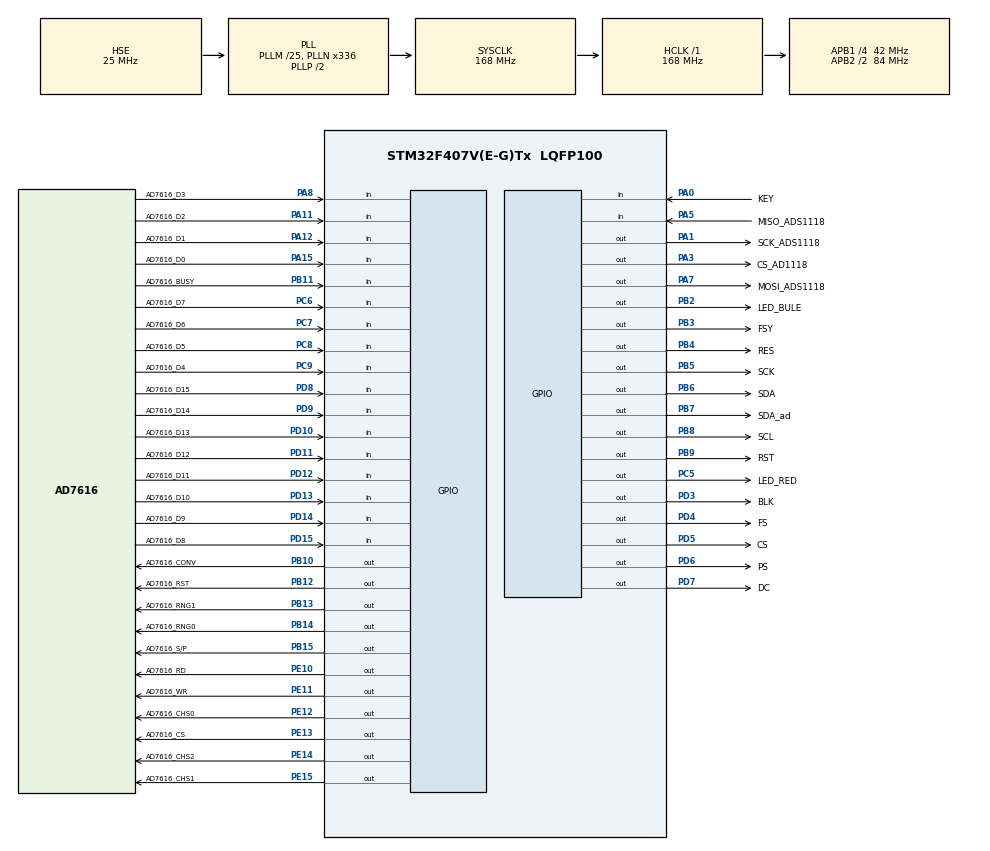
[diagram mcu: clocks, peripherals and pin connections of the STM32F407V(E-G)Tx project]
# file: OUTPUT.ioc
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Mcu.Family=STM32F4
Mcu.Name=STM32F407V(E-G)Tx
Mcu.Package=LQFP100
NVIC.PriorityGroup=NVIC_PRIORITYGROUP_4
PA0-WKUP.GPIO_Label=KEY
PA0-WKUP.GPIO_PuPd=GPIO_PULLDOWN
PA0-WKUP.Signal=GPIO_Input
PA1.GPIO_Label=SCK_ADS1118
PA1.GPIO_Speed=GPIO_SPEED_FREQ_HIGH
PA1.Signal=GPIO_Output
PA11.GPIO_Label=AD7616_D2
PA11.Signal=GPIO_Input
PA12.GPIO_Label=AD7616_D1
PA12.Signal=GPIO_Input
PA15.GPIO_Label=AD7616_D0
PA15.Signal=GPIO_Input
PA3.GPIO_Label=CS_AD1118
PA3.GPIO_Speed=GPIO_SPEED_FREQ_HIGH
PA3.Signal=GPIO_Output
PA5.GPIO_Label=MISO_ADS1118
PA5.GPIO_PuPd=GPIO_PULLUP
PA5.Signal=GPIO_Input
PA7.GPIO_Label=MOSI_ADS1118
PA7.GPIO_Speed=GPIO_SPEED_FREQ_HIGH
PA7.Signal=GPIO_Output
PA8.GPIO_Label=AD7616_D3
PA8.Signal=GPIO_Input
PB10.GPIO_Label=AD7616_CONV
PB10.GPIO_Speed=GPIO_SPEED_FREQ_MEDIUM
PB10.Signal=GPIO_Output
PB11.GPIO_Label=AD7616_BUSY
PB11.Signal=GPIO_Input
PB12.GPIO_Label=AD7616_RST
PB12.GPIO_Speed=GPIO_SPEED_FREQ_MEDIUM
PB12.Signal=GPIO_Output
PB13.GPIO_Label=AD7616_RNG1
PB13.GPIO_ModeDefaultOutputPP=GPIO_MODE_OUTPUT_PP
PB13.GPIO_PuPd=GPIO_NOPULL
PB13.GPIO_Speed=GPIO_SPEED_FREQ_MEDIUM
PB13.PinState=GPIO_PIN_RESET
PB13.Signal=GPIO_Output
PB14.GPIO_Label=AD7616_RNG0
PB14.GPIO_ModeDefaultOutputPP=GPIO_MODE_OUTPUT_PP
PB14.GPIO_PuPd=GPIO_NOPULL
PB14.GPIO_Speed=GPIO_SPEED_FREQ_MEDIUM
PB14.Signal=GPIO_Output
PB15.GPIO_Label=AD7616_S/P
PB15.GPIO_ModeDefaultOutputPP=GPIO_MODE_OUTPUT_PP
PB15.GPIO_PuPd=GPIO_NOPULL
PB15.Signal=GPIO_Output
PB2.GPIO_Label=LED_BULE
PB2.GPIO_ModeDefaultOutputPP=GPIO_MODE_OUTPUT_OD
PB2.GPIO_PuPd=GPIO_NOPULL
PB2.PinState=GPIO_PIN_SET
PB2.Signal=GPIO_Output
PB3.GPIO_Label=FSY
PB3.GPIO_Speed=GPIO_SPEED_FREQ_HIGH
PB3.Signal=GPIO_Output
PB4.GPIO_Label=RES
PB4.GPIO_Speed=GPIO_SPEED_FREQ_MEDIUM
PB4.Signal=GPIO_Output
PB5.GPIO_Label=SCK
PB5.GPIO_Speed=GPIO_SPEED_FREQ_HIGH
PB5.Signal=GPIO_Output
PB6.GPIO_Label=SDA
PB6.GPIO_Speed=GPIO_SPEED_FREQ_MEDIUM
PB6.Signal=GPIO_Output
PB7.GPIO_Label=SDA_ad
PB7.GPIO_Speed=GPIO_SPEED_FREQ_HIGH
PB7.Signal=GPIO_Output
PB8.GPIO_Label=SCL
PB8.GPIO_Speed=GPIO_SPEED_FREQ_MEDIUM
PB8.Signal=GPIO_Output
PB9.GPIO_Label=RST
PB9.GPIO_Speed=GPIO_SPEED_FREQ_HIGH
PB9.Signal=GPIO_Output
PC5.GPIO_Label=LED_RED
PC5.GPIO_ModeDefaultOutputPP=GPIO_MODE_OUTPUT_OD
PC5.GPIO_PuPd=GPIO_NOPULL
PC5.PinState=GPIO_PIN_SET
PC5.Signal=GPIO_Output
PC6.GPIO_Label=AD7616_D7
PC6.Signal=GPIO_Input
PC7.GPIO_Label=AD7616_D6
PC7.Signal=GPIO_Input
PC8.GPIO_Label=AD7616_D5
PC8.Signal=GPIO_Input
PC9.GPIO_Label=AD7616_D4
PC9.Signal=GPIO_Input
PD10.GPIO_Label=AD7616_D13
PD10.Signal=GPIO_Input
PD11.GPIO_Label=AD7616_D12
PD11.Signal=GPIO_Input
PD12.GPIO_Label=AD7616_D11
PD12.Signal=GPIO_Input
PD13.GPIO_Label=AD7616_D10
PD13.Signal=GPIO_Input
PD14.GPIO_Label=AD7616_D9
PD14.Signal=GPIO_Input
PD15.GPIO_Label=AD7616_D8
PD15.Signal=GPIO_Input
PD3.GPIO_Label=BLK
PD3.GPIO_Speed=GPIO_SPEED_FREQ_MEDIUM
PD3.Signal=GPIO_Output
PD4.GPIO_Label=FS
PD4.GPIO_Speed=GPIO_SPEED_FREQ_HIGH
PD4.PinState=GPIO_PIN_RESET
PD4.Signal=GPIO_Output
PD5.GPIO_Label=CS
PD5.GPIO_Speed=GPIO_SPEED_FREQ_MEDIUM
PD5.Signal=GPIO_Output
PD6.GPIO_Label=PS
PD6.GPIO_Speed=GPIO_SPEED_FREQ_HIGH
PD6.Signal=GPIO_Output
PD7.GPIO_Label=DC
PD7.GPIO_Speed=GPIO_SPEED_FREQ_MEDIUM
PD7.Signal=GPIO_Output
PD8.GPIO_Label=AD7616_D15
PD8.Signal=GPIO_Input
PD9.GPIO_Label=AD7616_D14
PD9.Signal=GPIO_Input
PE10.GPIO_Label=AD7616_RD
PE10.GPIO_Speed=GPIO_SPEED_FREQ_MEDIUM
PE10.Signal=GPIO_Output
PE11.GPIO_Label=AD7616_WR
PE11.GPIO_Speed=GPIO_SPEED_FREQ_MEDIUM
PE11.Signal=GPIO_Output
PE12.GPIO_Label=AD7616_CHS0
PE12.GPIO_ModeDefaultOutputPP=GPIO_MODE_OUTPUT_PP
PE12.GPIO_PuPd=GPIO_NOPULL
PE12.GPIO_Speed=GPIO_SPEED_FREQ_MEDIUM
PE12.Signal=GPIO_Output
PE13.GPIO_Label=AD7616_CS
PE13.GPIO_ModeDefaultOutputPP=GPIO_MODE_OUTPUT_PP
PE13.GPIO_PuPd=GPIO_NOPULL
PE13.GPIO_Speed=GPIO_SPEED_FREQ_MEDIUM
PE13.Signal=GPIO_Output
PE14.GPIO_Label=AD7616_CHS2
PE14.GPIO_ModeDefaultOutputPP=GPIO_MODE_OUTPUT_PP
PE14.GPIO_PuPd=GPIO_NOPULL
PE14.GPIO_Speed=GPIO_SPEED_FREQ_MEDIUM
PE14.Signal=GPIO_Output
PE15.GPIO_Label=AD7616_CHS1
PE15.GPIO_ModeDefaultOutputPP=GPIO_MODE_OUTPUT_PP
PE15.GPIO_PuPd=GPIO_NOPULL
PE15.GPIO_Speed=GPIO_SPEED_FREQ_MEDIUM
PE15.Signal=GPIO_Output
PH0-OSC_IN.Mode=HSE-External-Oscillator
PH0-OSC_IN.Signal=RCC_OSC_IN
PH1-OSC_OUT.Mode=HSE-External-Oscillator
PH1-OSC_OUT.Signal=RCC_OSC_OUT
ProjectManager.HeapSize=0x200
ProjectManager.StackSize=0x400
ProjectManager.TargetToolchain=CMake
RCC.48MHZClocksFreq_Value=84000000
RCC.AHBFreq_Value=168000000
RCC.APB1CLKDivider=RCC_HCLK_DIV4
RCC.APB1Freq_Value=42000000
RCC.APB1TimFreq_Value=84000000
RCC.APB2CLKDivider=RCC_HCLK_DIV2
RCC.APB2Freq_Value=84000000
RCC.APB2TimFreq_Value=168000000
RCC.CortexFreq_Value=168000000
RCC.HCLKFreq_Value=168000000
RCC.HSE_VALUE=25000000
RCC.HSI_VALUE=16000000
RCC.LSE_VALUE=32768
RCC.PLLM=25
RCC.PLLN=336
RCC.PLLSourceVirtual=RCC_PLLSOURCE_HSE
RCC.SYSCLKFreq_VALUE=168000000
RCC.SYSCLKSource=RCC_SYSCLKSOURCE_PLLCLK
RCC.VCOOutputFreq_Value=336000000
board=custom

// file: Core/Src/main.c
/* USER CODE BEGIN Header */
/**
  ******************************************************************************
  * @file           : main.c
  * @brief          : Main program body
  ******************************************************************************
  * @attention
  *
  * Copyright (c) 2026 STMicroelectronics.
  * All rights reserved.
  *
  * This software is licensed under terms that can be found in the LICENSE file
  * in the root directory of this software component.
  * If no LICENSE file comes with this software, it is provided AS-IS.
  *
  ******************************************************************************
  */
/* USER CODE END Header */
#include "main.h"
#include "gpio.h"

/* USER CODE BEGIN Includes */
#include "delay.h"
#include "ad7616.h"
#include "lcd.h"
/* USER CODE END Includes */

/* USER CODE BEGIN PD */
#define APP_CHANNEL_COUNT 8U
#define APP_ADC_RANGE_MV 5000L
#define APP_ALERT_THRESHOLD 30000U
#define APP_LCD_REFRESH_MS 100U
#define APP_LED_TOGGLE_MS 250U

#define APP_LED_RED_ON() HAL_GPIO_WritePin(LED_RED_GPIO_Port, LED_RED_Pin, GPIO_PIN_RESET)
#define APP_LED_RED_OFF() HAL_GPIO_WritePin(LED_RED_GPIO_Port, LED_RED_Pin, GPIO_PIN_SET)
#define APP_LED_BLUE_ON() HAL_GPIO_WritePin(LED_BULE_GPIO_Port, LED_BULE_Pin, GPIO_PIN_RESET)
#define APP_LED_BLUE_OFF() HAL_GPIO_WritePin(LED_BULE_GPIO_Port, LED_BULE_Pin, GPIO_PIN_SET)
/* USER CODE END PD */

/* USER CODE BEGIN PV */
static int16_t g_ad7616_a[APP_CHANNEL_COUNT];
static int16_t g_ad7616_b[APP_CHANNEL_COUNT];
static uint16_t g_peak_abs_code = 0U;
static uint32_t g_last_lcd_update_ms = 0U;
static uint32_t g_last_led_toggle_ms = 0U;
/* USER CODE END PV */

void SystemClock_Config(void);
/* USER CODE BEGIN PFP */
static uint16_t App_AbsCode(int16_t sample);
static int32_t App_CodeToMilliVolt(int16_t sample);
static void App_FormatMilliVolt(int32_t milli_volt, char *buffer);
static void App_ScanAd7616(void);
static void App_UpdateAlertLed(void);
static void App_InitLcd(void);
static void App_UpdateLcd(void);
/* USER CODE END PFP */

/* USER CODE BEGIN 0 */

static uint16_t App_AbsCode(int16_t sample)
{
  if (sample >= 0)
  {
    return (uint16_t)sample;
  }

  if (sample == INT16_MIN)
  {
    return 32768U;
  }

  return (uint16_t)(-sample);
}

static int32_t App_CodeToMilliVolt(int16_t sample)
{
  int32_t scaled = (int32_t)sample * APP_ADC_RANGE_MV;

  if (scaled >= 0)
  {
    scaled += 16384L;
  }
  else
  {
    scaled -= 16384L;
  }

  return scaled / 32768L;
}

static void App_FormatMilliVolt(int32_t milli_volt, char *buffer)
{
  uint32_t abs_mv;

  if (milli_volt < 0)
  {
    *buffer++ = '-';
    abs_mv = (uint32_t)(-milli_volt);
  }
  else
  {
    *buffer++ = '+';
    abs_mv = (uint32_t)milli_volt;
  }

  *buffer++ = (char)('0' + ((abs_mv / 1000U) % 10U));
  *buffer++ = '.';
  *buffer++ = (char)('0' + ((abs_mv / 100U) % 10U));
  *buffer++ = (char)('0' + ((abs_mv / 10U) % 10U));
  *buffer++ = (char)('0' + (abs_mv % 10U));
  *buffer = '\0';
}

static void App_UpdatePeakPair(uint16_t *peak, int16_t sample_a, int16_t sample_b)
{
  uint16_t abs_a = App_AbsCode(sample_a);
  uint16_t abs_b = App_AbsCode(sample_b);

  if (abs_a > *peak)
  {
    *peak = abs_a;
  }

  if (abs_b > *peak)
  {
    *peak = abs_b;
  }
}

static void App_ScanAd7616(void)
{
  uint8_t channel;
  uint16_t peak = 0U;
  int16_t sample_a = 0;
  int16_t sample_b = 0;

  /*
   * AD7616 并行切换通道后，结果会在下一次转换后读出。
   * 先用通道对 0 做一次预充转换，然后每次切到下一对通道并回填当前对的结果。
   */
  AD7616_Parallel_Channel_Select(0U);
  AD7616_Conversion();
  if (AD7616_Read_Data_Timeout(&sample_a, &sample_b, AD7616_BUSY_TIMEOUT_US) != HAL_OK)
  {
    Error_Handler();
  }

  for (channel = 0U; channel < APP_CHANNEL_COUNT; ++channel)
  {
    uint8_t next_channel = (uint8_t)((channel + 1U) & 0x07U);

    AD7616_Parallel_Channel_Select(next_channel);
    AD7616_Conversion();
    if (AD7616_Read_Data_Timeout(&sample_a, &sample_b, AD7616_BUSY_TIMEOUT_US) != HAL_OK)
    {
      Error_Handler();
    }

    g_ad7616_a[channel] = sample_a;
    g_ad7616_b[channel] = sample_b;
    App_UpdatePeakPair(&peak, sample_a, sample_b);
  }

  g_peak_abs_code = peak;
}
//伏笔了这波，有点意思
//大卫拉亚的示例有点东西
//lihai

static void App_UpdateAlertLed(void)
{
  if (g_peak_abs_code >= APP_ALERT_THRESHOLD)
  {
    APP_LED_RED_ON();
  }
  else
  {
    APP_LED_RED_OFF();
  }
}

static void App_InitLcd(void)
{
  LCD_Init();
  LCD_Fill(0, 0, LCD_W, LCD_H, BLACK);
  LCD_ShowString(0, 0, (const u8 *)"PAIR  A(V)   B(V)", CYAN, BLACK, 12, 0);
}

static void App_UpdateLcd(void)
{
  uint8_t channel;

  for (channel = 0U; channel < APP_CHANNEL_COUNT; ++channel)
  {
    char a_text[8];
    char b_text[8];
    char line_text[20];
    uint16_t row_y = (uint16_t)(16U + ((uint16_t)channel * 18U));

    App_FormatMilliVolt(App_CodeToMilliVolt(g_ad7616_a[channel]), a_text);
    App_FormatMilliVolt(App_CodeToMilliVolt(g_ad7616_b[channel]), b_text);

    line_text[0] = '0' + (char)channel;
    line_text[1] = ':';
    line_text[2] = ' ';
    line_text[3] = a_text[0];
    line_text[4] = a_text[1];
    line_text[5] = a_text[2];
    line_text[6] = a_text[3];
    line_text[7] = a_text[4];
    line_text[8] = a_text[5];
    line_text[9] = ' ';
    line_text[10] = b_text[0];
    line_text[11] = b_text[1];
    line_text[12] = b_text[2];
    line_text[13] = b_text[3];
    line_text[14] = b_text[4];
    line_text[15] = b_text[5];
    line_text[16] = '\0';

    LCD_ShowString(0, row_y, (const u8 *)line_text, WHITE, BLACK, 12, 0);
  }
}

/* USER CODE END 0 */

int main(void)
{

  /* MCU Configuration--------------------------------------------------------*/

  /* Reset of all peripherals, Initializes the Flash interface and the Systick. */
  HAL_Init();

  /* Configure the system clock */
  SystemClock_Config();

  /* USER CODE BEGIN SysInit */
  delay_init(HAL_RCC_GetSysClockFreq());
  /* USER CODE END SysInit */

  /* Initialize all configured peripherals */
  MX_GPIO_Init();
  /* USER CODE BEGIN 2 */
  APP_LED_BLUE_OFF();
  APP_LED_RED_OFF();

  App_InitLcd();

  AD7616_Init(HARDWARE_MODE);
  AD7616_Parallel_Set_voltage(Range_5_V);
  AD7616_Parallel_Channel_Select(0U);
  AD7616_Reset();
  App_ScanAd7616();
  App_UpdateLcd();
  /* USER CODE END 2 */

  /* Infinite loop */
  /* USER CODE BEGIN WHILE */
  while (1)
  {
    uint32_t now_ms;

    /* USER CODE END WHILE */

    /* USER CODE BEGIN 3 */
    App_ScanAd7616();
    now_ms = HAL_GetTick();

    if ((now_ms - g_last_lcd_update_ms) >= APP_LCD_REFRESH_MS)
    {
      App_UpdateLcd();
      g_last_lcd_update_ms = now_ms;
    }

    if ((now_ms - g_last_led_toggle_ms) >= APP_LED_TOGGLE_MS)
    {
      HAL_GPIO_TogglePin(LED_BULE_GPIO_Port, LED_BULE_Pin);
      g_last_led_toggle_ms = now_ms;
    }

    App_UpdateAlertLed();
  }
  /* USER CODE END 3 */
}

void SystemClock_Config(void)
{
  RCC_OscInitTypeDef RCC_OscInitStruct = {0};
  RCC_ClkInitTypeDef RCC_ClkInitStruct = {0};

  /** Configure the main internal regulator output voltage
  */
  __HAL_RCC_PWR_CLK_ENABLE();
  __HAL_PWR_VOLTAGESCALING_CONFIG(PWR_REGULATOR_VOLTAGE_SCALE1);

  /** Initializes the RCC Oscillators according to the specified parameters
  * in the RCC_OscInitTypeDef structure.
  */
  RCC_OscInitStruct.OscillatorType = RCC_OSCILLATORTYPE_HSE;
  RCC_OscInitStruct.HSEState = RCC_HSE_ON;
  RCC_OscInitStruct.PLL.PLLState = RCC_PLL_ON;
  RCC_OscInitStruct.PLL.PLLSource = RCC_PLLSOURCE_HSE;
  RCC_OscInitStruct.PLL.PLLM = 25;
  RCC_OscInitStruct.PLL.PLLN = 336;
  RCC_OscInitStruct.PLL.PLLP = RCC_PLLP_DIV2;
  RCC_OscInitStruct.PLL.PLLQ = 4;
  if (HAL_RCC_OscConfig(&RCC_OscInitStruct) != HAL_OK)
  {
    Error_Handler();
  }

  /** Initializes the CPU, AHB and APB buses clocks
  */
  RCC_ClkInitStruct.ClockType = RCC_CLOCKTYPE_HCLK|RCC_CLOCKTYPE_SYSCLK
                              |RCC_CLOCKTYPE_PCLK1|RCC_CLOCKTYPE_PCLK2;
  RCC_ClkInitStruct.SYSCLKSource = RCC_SYSCLKSOURCE_PLLCLK;
  RCC_ClkInitStruct.AHBCLKDivider = RCC_SYSCLK_DIV1;
  RCC_ClkInitStruct.APB1CLKDivider = RCC_HCLK_DIV4;
  RCC_ClkInitStruct.APB2CLKDivider = RCC_HCLK_DIV2;

  if (HAL_RCC_ClockConfig(&RCC_ClkInitStruct, FLASH_LATENCY_5) != HAL_OK)
  {
    Error_Handler();
  }
}

void Error_Handler(void)
{
  /* USER CODE BEGIN Error_Handler_Debug */
  /* User can add his own implementation to report the HAL error return state */
  __disable_irq();
  while (1)
  {
    HAL_GPIO_TogglePin(LED_RED_GPIO_Port, LED_RED_Pin);
    delay_ms(100);
  }
  /* USER CODE END Error_Handler_Debug */
}
